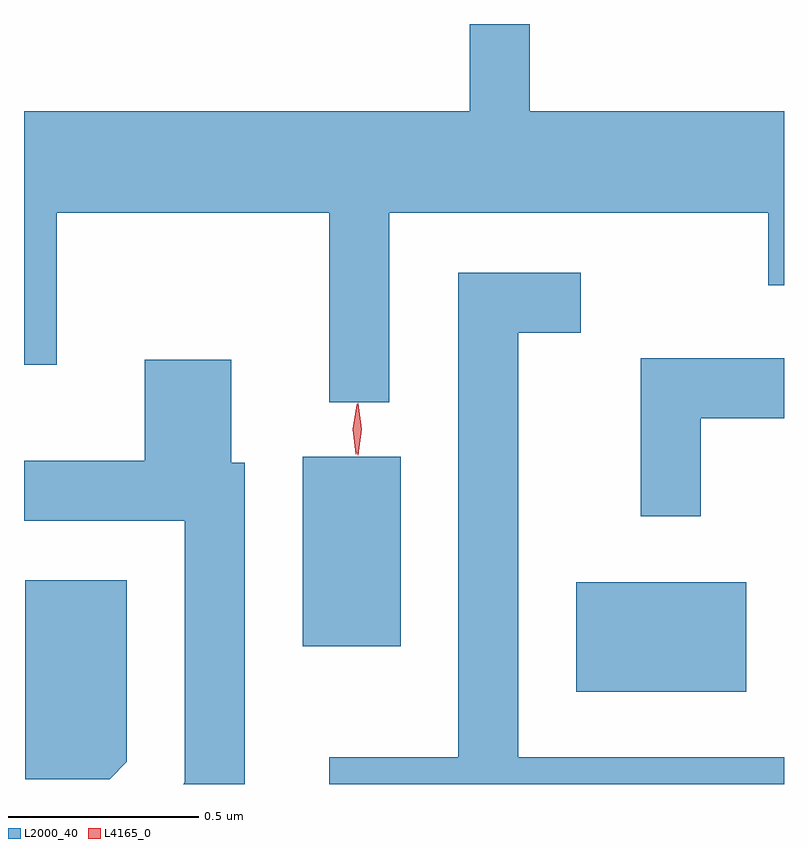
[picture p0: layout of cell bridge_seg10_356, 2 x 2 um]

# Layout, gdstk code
import gdstk
lib = gdstk.Library(unit=1e-6, precision=1e-09)
def R(c, l, rs):  # rectangles x0, y0, x1, y1
    for r in rs: c.add(gdstk.rectangle(r[:2], r[2:], *l))
def P(c, l, *ps):  # polygons
    for p in ps: c.add(gdstk.Polygon(p, *l))
L2000_40 = (2000, 40)
L4165_0 = (4165, 0)

bridge_seg10_356 = lib.new_cell('bridge_seg10_356')
R(bridge_seg10_356, L2000_40, [(1351.906,2161.496,1352.354,2161.784), (1351.186,2161.616,1351.444,2162.114)])
P(bridge_seg10_356, L2000_40, [(1351.414,2162.756),(1352.411,2162.756),(1352.411,2162.566),(1352.453,2162.566),(1352.453,2163.024),(1351.784,2163.024),(1351.784,2163.253),(1351.626,2163.253),(1351.626,2163.024),(1350.453,2163.024),(1350.453,2162.356),(1350.539,2162.356),(1350.539,2162.756),(1351.256,2162.756),(1351.256,2162.258),(1351.414,2162.258)],
  [(1352.453,2161.324),(1351.754,2161.324),(1351.754,2162.441),(1351.918,2162.441),(1351.918,2162.599),(1351.596,2162.599),(1351.596,2161.324),(1351.256,2161.324),(1351.256,2161.253),(1352.453,2161.253)],
  [(1352.234,2162.216),(1352.453,2162.216),(1352.453,2162.374),(1352.076,2162.374),(1352.076,2161.958),(1352.234,2161.958)],
  [(1351.034,2162.099),(1350.999,2162.099),(1350.999,2162.369),(1350.771,2162.369),(1350.771,2162.104),(1350.453,2162.104),(1350.453,2161.946),(1350.876,2161.946),(1350.876,2161.257),(1350.872,2161.253),(1351.034,2161.253)],
  [(1350.724,2161.312),(1350.724,2161.789),(1350.456,2161.789),(1350.456,2161.266),(1350.679,2161.266)])
P(bridge_seg10_356, L4165_0, [(1351.331,2162.118),(1351.322,2162.186),(1351.331,2162.255),(1351.332,2162.255),(1351.332,2162.255),(1351.342,2162.186),(1351.332,2162.118),(1351.332,2162.118)],
  [(1351.326,2162.121),(1351.326,2162.121),(1351.318,2162.186),(1351.329,2162.251),(1351.329,2162.252),(1351.33,2162.251),(1351.338,2162.186),(1351.327,2162.121)])

lib.write_gds('bridge_seg10_356.gds')
